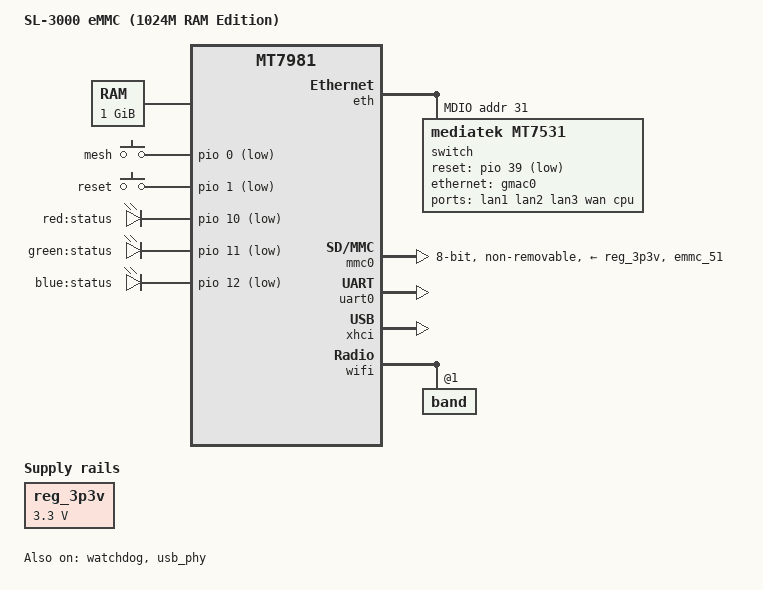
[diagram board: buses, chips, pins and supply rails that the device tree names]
// SPDX-License-Identifier: GPL-2.0-or-later OR MIT
/dts-v1/;
#include <dt-bindings/gpio/gpio.h>
#include <dt-bindings/input/input.h>
#include <dt-bindings/leds/common.h>
#include "mt7981.dtsi"

/ {
	model = "SL-3000 eMMC (1024M RAM Edition)";
	compatible = "sl,3000-emmc", "mediatek,mt7981";

	aliases {
		serial0 = &uart0;
		led-boot = &status_red_led;
		led-failsafe = &status_red_led;
		led-running = &status_green_led;
		led-upgrade = &status_blue_led;
	};

	chosen {
		bootargs = "root=PARTLABEL=rootfs rootwait";
		stdout-path = "serial0:115200n8";
	};

	memory@40000000 {
		device_type = "memory";
		reg = <0 0x40000000 0 0x40000000>;   /* 1024 MB */
	};

	/* 添加 3.3V 固定稳压器（eMMC 供电） */
	reg_3p3v: regulator-3p3v {
		compatible = "regulator-fixed";
		regulator-name = "3p3v";
		regulator-min-microvolt = <3300000>;
		regulator-max-microvolt = <3300000>;
		regulator-always-on;
		regulator-boot-on;
	};

	gpio-keys {
		compatible = "gpio-keys";
		button-mesh {
			label = "mesh";
			linux,code = <BTN_9>;
			linux,input-type = <EV_SW>;
			gpios = <&pio 0 GPIO_ACTIVE_LOW>;
		};
		button-reset {
			label = "reset";
			linux,code = <KEY_RESTART>;
			gpios = <&pio 1 GPIO_ACTIVE_LOW>;
		};
	};

	gpio-leds {
		compatible = "gpio-leds";
		status_red_led: led-0 { label = "red:status"; gpios = <&pio 10 GPIO_ACTIVE_LOW>; };
		status_green_led: led-1 { label = "green:status"; gpios = <&pio 11 GPIO_ACTIVE_LOW>; };
		status_blue_led: led-2 { label = "blue:status"; gpios = <&pio 12 GPIO_ACTIVE_LOW>; };
	};
};

&eth {
	status = "okay";
	gmac0: mac@0 {
		compatible = "mediatek,eth-mac";
		reg = <0>;
		phy-mode = "2500base-x";
		fixed-link {
			speed = <2500>;
			full-duplex;
			pause;
		};
	};
	gmac1: mac@1 {
		compatible = "mediatek,eth-mac";
		reg = <1>;
		phy-mode = "2500base-x";
		fixed-link {
			speed = <2500>;
			full-duplex;
			pause;
		};
	};
	mdio: mdio-bus {
		#address-cells = <1>;
		#size-cells = <0>;
		switch@0 {
			compatible = "mediatek,mt7531";
			reg = <31>;
			/* 修正复位引脚极性（假设低电平有效） */
			reset-gpios = <&pio 39 GPIO_ACTIVE_LOW>;
			ports {
				#address-cells = <1>;
				#size-cells = <0>;
				port@0 { reg = <0>; label = "lan1"; };
				port@1 { reg = <1>; label = "lan2"; };
				port@2 { reg = <2>; label = "lan3"; };
				port@3 { reg = <3>; label = "wan"; };
				port@6 {
					reg = <6>;
					label = "cpu";
					ethernet = <&gmac0>;
					phy-mode = "2500base-x";
					fixed-link {
						speed = <2500>;
						full-duplex;
						pause;
					};
				};
			};
		};
	};
};

&mmc0 {
	bus-width = <8>;
	cap-mmc-highspeed;
	max-frequency = <52000000>;
	non-removable;
	pinctrl-names = "default", "state_uhs";
	pinctrl-0 = <&mmc0_pins_default>;
	pinctrl-1 = <&mmc0_pins_uhs>;
	vmmc-supply = <&reg_3p3v>;          /* 使用前面定义的稳压器 */
	status = "okay";
	/* eMMC 分区由 GPT 管理，不在设备树中描述 */
};

&pio {
	mmc0_pins_default: mmc0-pins-default {
		mux {
			function = "flash";
			groups = "emmc_51";
		};
	};
	mmc0_pins_uhs: mmc0-pins-uhs {
		mux {
			function = "flash";
			groups = "emmc_51";
		};
	};
};

&uart0 { status = "okay"; };
&watchdog { status = "okay"; };
&usb_phy { status = "okay"; };
&xhci { status = "okay"; };

&wifi {
	/* 校准数据应由 bootloader 从 eMMC 的 factory 分区读取后填充
	   nvmem-cells = <&eeprom_factory_0>;
	   nvmem-cell-names = "eeprom";
	*/
	status = "okay";
	band@1 {
		reg = <1>;
		/* MAC 地址也应由 bootloader 填充
		   nvmem-cells = <&macaddr_factory_4 1>;
		   nvmem-cell-names = "mac-address";
		*/
	};
};
